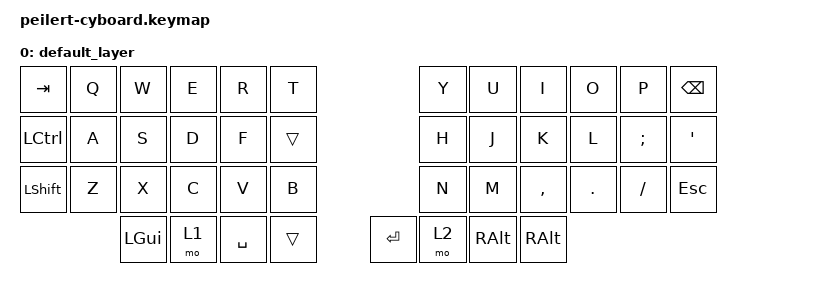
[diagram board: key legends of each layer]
/*
 * Copyright (c) 2020 The ZMK Contributors
 *
 * SPDX-License-Identifier: MIT
 */

#include <behaviors.dtsi>
#include <dt-bindings/zmk/keys.h>
#include <dt-bindings/zmk/bt.h>

/ {
        keymap {
                compatible = "zmk,keymap";

                default_layer {
// -----------------------------------------------------------------------------------------
// |  TAB |  Q  |  W  |  E  |  R  |  T  |                          |  Y  |  U  |  I  |  O  |  P  | BKSP |
// | CTRL |  A  |  S  |  D  |  F  |  G (not working)  |                          |  H  |  J  |  K  |  L  |  ;  |  '   |
// | SHFT |  Z  |  X  |  C  |  V  |  B  |                          |  N  |  M  |  ,  |  .  |  /  | ESC  |
//                          | GUI | LWR | SPC | SPC |  | ENT | RSE | ALT | ALT |
                        bindings = <
   &kp TAB   &kp Q &kp W &kp E &kp R &kp T                  &kp Y &kp U  &kp I     &kp O   &kp P    &kp BSPC
   &kp LCTRL &kp A &kp S &kp D &kp F &trans                  &kp H &kp J  &kp K     &kp L   &kp SEMI &kp SQT
   &kp LSHFT &kp Z &kp X &kp C &kp V &kp B                  &kp N &kp M  &kp COMMA &kp DOT &kp FSLH &kp ESC
                  &kp LGUI &mo 1 &kp SPACE &trans    &kp RET &mo 2 &kp RALT &kp RALT
                        >;
                };
        };
};
